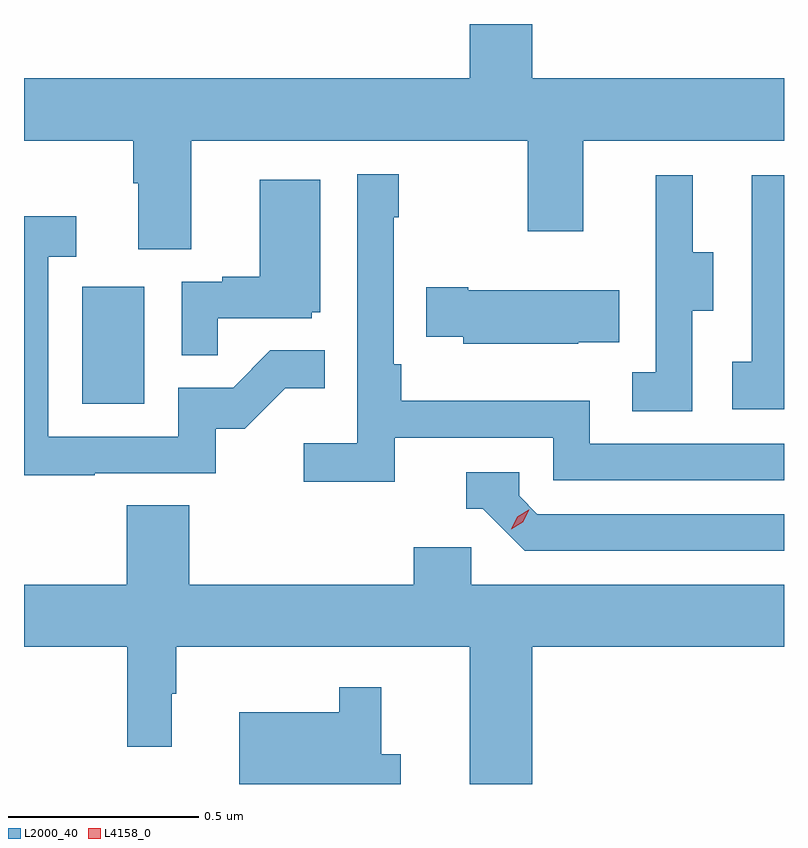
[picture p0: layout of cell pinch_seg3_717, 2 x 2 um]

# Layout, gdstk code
import gdstk
lib = gdstk.Library(unit=1e-6, precision=1e-09)
def R(c, l, rs):  # rectangles x0, y0, x1, y1
    for r in rs: c.add(gdstk.rectangle(r[:2], r[2:], *l))
def P(c, l, *ps):  # polygons
    for p in ps: c.add(gdstk.Polygon(p, *l))
L2000_40 = (2000, 40)
L4158_0 = (4158, 0)

pinch_seg3_717 = lib.new_cell('pinch_seg3_717')
R(pinch_seg3_717, L2000_40, [(1087.064,669.588,1087.228,669.895)])
P(pinch_seg3_717, L2000_40, [(1087.351,670.28),(1088.236,670.28),(1088.236,670.041),(1088.383,670.041),(1088.383,670.28),(1088.911,670.28),(1088.911,670.444),(1088.248,670.444),(1088.248,670.587),(1088.084,670.587),(1088.084,670.444),(1086.911,670.444),(1086.911,670.28),(1087.199,670.28),(1087.199,670.168),(1087.211,670.168),(1087.211,669.994),(1087.351,669.994)],
  [(1087.886,669.498),(1088.304,669.498),(1088.304,669.387),(1088.911,669.387),(1088.911,669.483),(1088.4,669.483),(1088.4,669.595),(1087.904,669.595),(1087.904,669.691),(1087.884,669.691),(1087.884,670.079),(1087.897,670.079),(1087.897,670.192),(1087.788,670.192),(1087.788,669.484),(1087.647,669.484),(1087.647,669.382),(1087.886,669.382)],
  [(1088.911,670.189),(1088.826,670.189),(1088.826,669.698),(1088.775,669.698),(1088.775,669.573),(1088.911,669.573)],
  [(1088.67,669.832),(1088.725,669.832),(1088.725,669.987),(1088.671,669.987),(1088.671,670.189),(1088.573,670.189),(1088.573,669.975),(1088.574,669.975),(1088.574,669.671),(1088.511,669.671),(1088.511,669.568),(1088.67,669.568)],
  [(1087.421,669.813),(1087.668,669.813),(1087.668,669.828),(1087.69,669.828),(1087.69,670.177),(1087.532,670.177),(1087.532,669.922),(1087.433,669.922),(1087.433,669.909),(1087.326,669.909),(1087.326,669.715),(1087.421,669.715)],
  [(1087.097,669.405),(1087.416,669.405),(1087.416,669.522),(1087.492,669.522),(1087.599,669.629),(1087.703,669.629),(1087.703,669.728),(1087.559,669.728),(1087.461,669.63),(1087.317,669.63),(1087.317,669.501),(1086.975,669.501),(1086.975,669.975),(1087.048,669.975),(1087.048,670.081),(1086.911,670.081),(1086.911,669.4),(1087.097,669.4)],
  [(1088.369,669.749),(1088.477,669.749),(1088.477,669.886),(1088.08,669.886),(1088.08,669.894),(1087.969,669.894),(1087.969,669.764),(1088.067,669.764),(1088.067,669.746),(1088.369,669.746)],
  [(1088.911,669.297),(1088.262,669.297),(1088.214,669.345),(1088.214,669.408),(1088.075,669.408),(1088.075,669.312),(1088.118,669.312),(1088.229,669.201),(1088.911,669.201)],
  [(1088.248,668.948),(1088.911,668.948),(1088.911,669.112),(1088.088,669.112),(1088.088,669.21),(1087.937,669.21),(1087.937,669.112),(1087.346,669.112),(1087.346,669.32),(1087.181,669.32),(1087.181,669.112),(1086.911,669.112),(1086.911,668.948),(1087.183,668.948),(1087.183,668.685),(1087.3,668.685),(1087.3,668.825),(1087.312,668.825),(1087.312,668.948),(1088.084,668.948),(1088.084,668.587),(1088.248,668.587)],
  [(1087.903,668.665),(1087.851,668.665),(1087.851,668.842),(1087.74,668.842),(1087.74,668.776),(1087.478,668.776),(1087.478,668.587),(1087.903,668.587)])
P(pinch_seg3_717, L4158_0, [(1088.193,669.258),(1088.193,669.258),(1088.209,669.29),(1088.239,669.309),(1088.24,669.309),(1088.24,669.309),(1088.224,669.276),(1088.193,669.258)])

lib.write_gds('pinch_seg3_717.gds')
